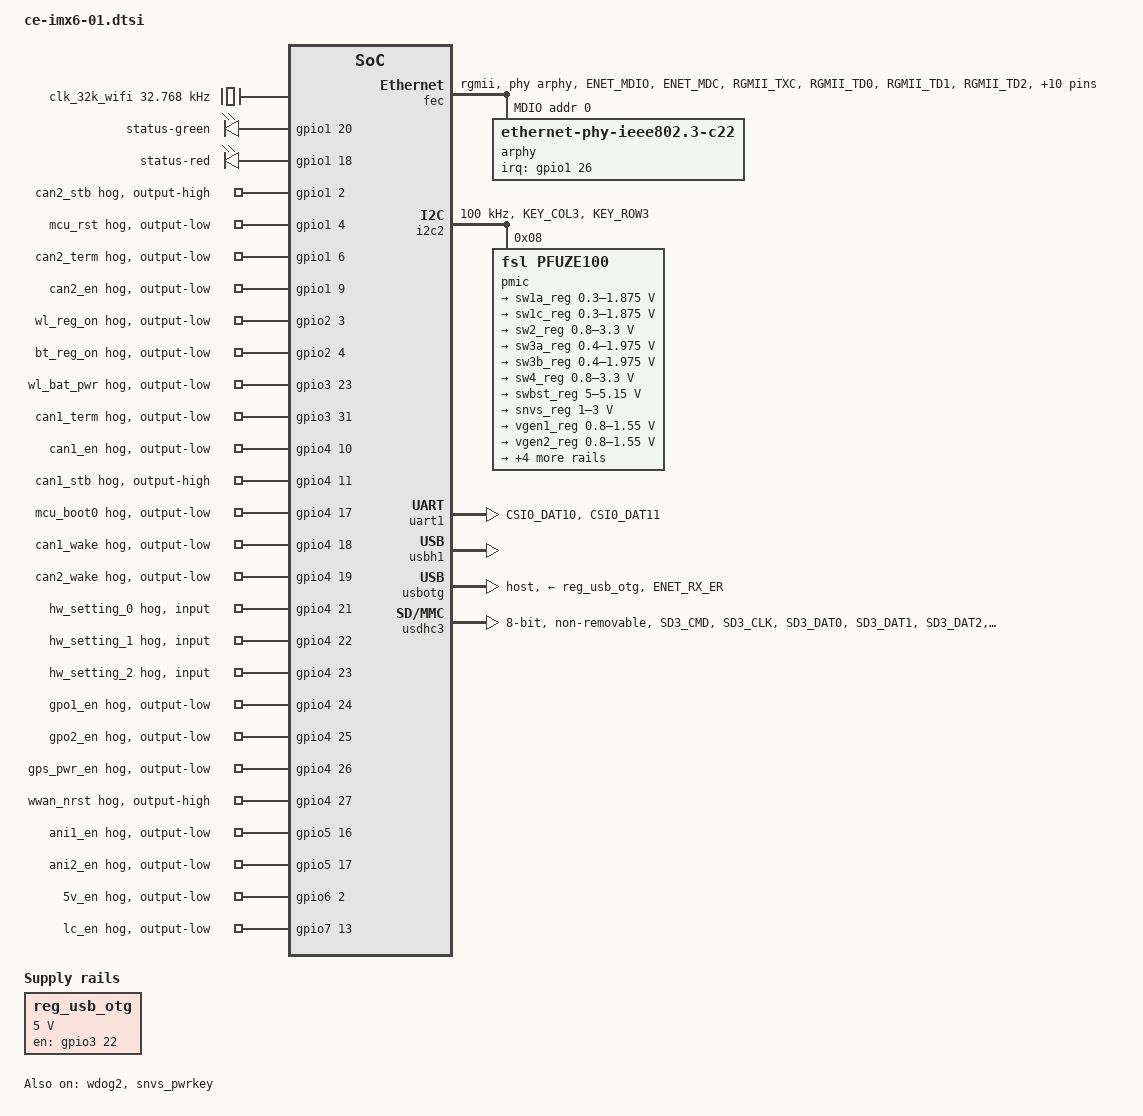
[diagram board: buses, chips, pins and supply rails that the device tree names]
/*
 * Copyright Akkodis Edge Sweden AB
 *
 * The code contained herein is licensed under the GNU General Public
 * License. You may obtain a copy of the GNU General Public License
 * Version 2 or later at the following locations:
 *
 * http://www.opensource.org/licenses/gpl-license.html
 * http://www.gnu.org/copyleft/gpl.html
 */

#include <dt-bindings/gpio/gpio.h>
#include <dt-bindings/interrupt-controller/irq.h>
#include <dt-bindings/input/input.h>

/ {
	aliases {
		mmc0 = &usdhc3;
	};

	chosen {
		stdout-path = &uart1;
	};

	reg_usb_otg: reg-usb-otg {
		compatible = "regulator-fixed";
		pinctrl-names = "default";
		pinctrl-0 = <&pinctrl_reg_usb_otg>;
		regulator-name = "reg_usb_otg";
		regulator-min-microvolt = <5000000>;
		regulator-max-microvolt = <5000000>;
		gpio = <&gpio3 22 GPIO_ACTIVE_HIGH>;
		enable-active-high;
		regulator-always-on;
	};

	clk_32k_wifi: clk-32k-wifi {
		compatible = "fixed-clock";
		#clock-cells = <0>;
		clock-frequency = <32768>;
	};

	leds {
    	compatible = "gpio-leds";
		pinctrl-names = "default";
		pinctrl-0 = <&pinctrl_leds>;
		status-green {
			label = "status-green";
			gpios = <&gpio1 20 GPIO_ACTIVE_HIGH>;
		};
		status-red {
			label = "status-red";
			gpios = <&gpio1 18 GPIO_ACTIVE_HIGH>;
		};
    };

	binman: binman {
		multiple-images;
		itb {
			filename = "u-boot.itb";
			align-size = <4096>;

			fit {
				description = "Configuration to load U-Boot";
				fit,fdt-list = "of-list";
				#address-cells = <1>;
				images {
					uboot {
						arch = "arm";
						compression = "none";
						description = "U-Boot";
						os = "u-boot";
						load = <CONFIG_TEXT_BASE>;
						entry = <CONFIG_TEXT_BASE>;
						type = "firmware";
						uboot-blob {
							filename = "u-boot-nodtb.bin";
							type = "blob-ext";
						};
					};
					@fdt-SEQ {
						compression = "none";
						description = "NAME";
						type = "flat_dt";
					};
				};
				configurations {
					@config-SEQ {
						description = "NAME";
						fdt = "fdt-SEQ";
						firmware = "uboot";
						loadables = "uboot";
					};
				};
			};
		};
	};

	signature {
		required-mode = "any";

		key-datarespons {
			required = "conf";
			algo = "sha256,rsa4096";
			rsa,r-squared = <
				0x130bf445 0xb210e2ce 0xf57fe687
				0x57394736 0x62871837 0x75f4fe88 0x387e555a
				0x189837f0 0x2707b143 0xa899a000 0x1e4dd8cb
				0xeaf34074 0xf3d5f3c7 0x99e4c2eb 0xfc860aa7
				0x0f6b1b9d 0x48d49b2c 0x0d184698 0x362e812d
				0x9e73accd 0xa9fdc59c 0x08440beb 0xbf09b938
				0xf474b95d 0xa1a4c13c 0xa2041e6a 0x10e88c1e
				0xad45643a 0xc750d0cb 0x314da2e8 0x31e6d1d7
				0xdc07a2fb 0xbc2c475b 0xe1132e66 0x33071c12
				0xa4165a31 0xd624e7ab 0xab7f8404 0x9a88dac8
				0x956eb55a 0x6ca588b8 0x1acb7c53 0x96e8855b
				0xca27e87a 0xbc69a58d 0x0f88e180 0xae55ca63
				0x7e51c80a 0x6d92828c 0x9d8be7d0 0xc7f7c0a8
				0x171661a7 0x4062c6fa 0x30a50bbb 0xecdd3679
				0x80b250c3 0x3a163d00 0x4c45cc74 0x0a30f4a8
				0x4f02359b 0x85510abb 0x0720bea9 0x88132051
				0xbe718e70 0x10b6c3e5 0x04122467 0x425e1146
				0x7e76f2e7 0x75babf2b 0x8285a2b3 0x6f5a1d19
				0x72f6a653 0xff45baf6 0xacb11eff 0x9a05984d
				0xb726a750 0x50ddd501 0xdd51e553 0x01b83294
				0xe1e78356 0x677c8c63 0x833a0f3f 0xcdb07721
				0x3d179c19 0x9a76f4c2 0x39576908 0x17249c8a
				0x57103fba 0x4f2df66b 0xa1c945fa 0x94de9f20
				0x1f21ef88 0xcc3fc6c5 0x54aef0a7 0x22eb6a05
				0x4c9d7861 0x8df3fe1f 0x990fa5c1 0x22b84516
				0xc48877dc 0x4896a835 0x281ded72 0x45b59054
				0x00eeb4a0 0xa254d782 0x5f7649ef 0x295869c5
				0x634885ce 0xc2632b4e 0xa7e19e23 0xb3d239fc
				0x6057347d 0xcfd79d37 0x256fd805 0x85f82100
				0x9e9d76f0 0x6a4b4632 0xeedbf6fa 0xe45034c0
				0x59be5d23 0x631e69b9 0xc7f2adfe 0x9653e15e
				0x3852bcf1 0xdc907f58 0x6919bc8a 0x040ebc8e
				0x5d65cbf6>;
			rsa,modulus = <
				0xdfc488bf 0x3ac051bf 0x3aafe113 0xa6b1bf8f
				0xb4c6966d 0x66c0e665 0xe8fe08d1 0x76c4cf6b
				0x26a81fe9 0xc378989c 0x4fed3b6d 0xbbd0ebc6
				0x5c0b2e8f 0x70882107 0x668a4836 0x493bdabe
				0x13b58dc7 0x7e1f5610 0x3984cbec 0xa8313e3e
				0x50a37315 0x2eb75947 0x6aa0f86d 0xf908e302
				0x1d91bfc8 0xc02f455f 0x8b92c857 0x0a208010
				0x5f71b5b1 0x1476f55a 0x240042f4 0x76cf228b
				0x4ad41f29 0x5ba68dae 0x6737bc9a 0x35f7fd2b
				0x7e707b5e 0x37709ede 0xdf6e45b5 0x27e26a30
				0xcb2760fc 0xfad6a62b 0x107c09cd 0x371b9c6c
				0x210eaf3b 0xb46cfef9 0xf2b872ac 0x7ad3e577
				0x1f3999c9 0xbfd73225 0xe7415f8e 0xc49e0e74
				0x3d900c78 0x441f9dd4 0x813cd6e6 0x5577c409
				0x83403f12 0x23d9838e 0x44452a85 0xf6875ffe
				0x6fcd5b51 0x12ee8c40 0x3bee7ddf 0x7215cc35
				0x4b5cf539 0x7ed625a0 0x1ed34911 0x2d60833e
				0x3600a7ec 0x1571403d 0x92ae0c2c 0x9ddf5499
				0xeb746735 0x25b305b2 0xa5e06d70 0xcca62cc3
				0x1fcd97dc 0xa7902768 0x65b1d01e 0x7a150ece
				0xbc157a9d 0x6c0b02f4 0x2bf5021f 0x9a95468b
				0xd784f910 0x8d42b117 0xa4747dc8 0x83299ca9
				0x4e8cc2a8 0xcb451fe7 0xbc338b77 0x69e7ee8e
				0x0727aadb 0x6c3cd733 0x0cf506a7 0x5df197bc
				0x7dd804a7 0x5a606e01 0x90bcf621 0xe44c9f84
				0xd14e7d6b 0xc7c75399 0x9a9a193f 0xe036bbdd
				0xb0e5523f 0xc7caf958 0x53b9f6de 0xb2767344
				0x24fc5889 0x4ca35d1f 0x1d81b124 0xa436d540
				0xdc72a390 0xabb95cf7 0x23d16da1 0xf600c84a
				0x4a389fc6 0xd797d4c8 0x93f93c43 0x876a27c4
				0x48380814 0x3dbc932b 0xd9c4a3e5 0x09084790
				0xac349fc4 0x93232312 0x2554f5b7 0x19ebd13b>;
			rsa,exponent = <0x00000000 0x00010001>;
			rsa,n0-inverse = <0x70ad200d>;
			rsa,num-bits = <0x00001000>;
			key-name-hint = "datarespons";
		};
	};
};

&gpio1 {
	pinctrl-names = "default";
	pinctrl-0 = <&pinctrl_gpio1_hog>;

	can2_stb {
		gpio-hog;
		output-high;
		gpios = <2 GPIO_ACTIVE_HIGH>;
	};

	mcu_rst {
		gpio-hog;
		output-low;
		gpios = <4 GPIO_ACTIVE_HIGH>;
	};

	can2_term {
		gpio-hog;
		output-low;
		gpios = <6 GPIO_ACTIVE_HIGH>;
	};

	can2_en {
		gpio-hog;
		output-low;
		gpios = <9 GPIO_ACTIVE_HIGH>;
	};
};

&gpio2 {
	pinctrl-names = "default";
	pinctrl-0 = <&pinctrl_gpio2_hog>;

	wl_reg_on {
		gpio-hog;
		output-low;
		gpios = <3 GPIO_ACTIVE_HIGH>;
	};

	bt_reg_on {
		gpio-hog;
		output-low;
		gpios = <4 GPIO_ACTIVE_HIGH>;
	};
};

&gpio3 {
	pinctrl-names = "default";
	pinctrl-0 = <&pinctrl_gpio3_hog>;

	wl_bat_pwr {
		gpio-hog;
		output-low;
		gpios = <23 GPIO_ACTIVE_HIGH>;
	};

	can1_term {
		gpio-hog;
		output-low;
		gpios = <31 GPIO_ACTIVE_HIGH>;
	};
};


&gpio4 {
	pinctrl-names = "default";
	pinctrl-0 = <&pinctrl_gpio4_hog>;

	can1_en {
		gpio-hog;
		output-low;
		gpios = <10 GPIO_ACTIVE_HIGH>;
	};

	can1_stb {
		gpio-hog;
		output-high;
		gpios = <11 GPIO_ACTIVE_HIGH>;
	};

	mcu_boot0 {
		gpio-hog;
		output-low;
		gpios = <17 GPIO_ACTIVE_HIGH>;
	};

	can1_wake {
		gpio-hog;
		output-low;
		gpios = <18 GPIO_ACTIVE_HIGH>;
	};

	can2_wake {
		gpio-hog;
		output-low;
		gpios = <19 GPIO_ACTIVE_HIGH>;
	};

	hw_setting_0 {
		gpio-hog;
		input;
		gpios = <21 GPIO_ACTIVE_HIGH>;
	};

	hw_setting_1 {
		gpio-hog;
		input;
		gpios = <22 GPIO_ACTIVE_HIGH>;
	};

	hw_setting_2 {
		gpio-hog;
		input;
		gpios = <23 GPIO_ACTIVE_HIGH>;
	};

	gpo1_en {
		gpio-hog;
		output-low;
		gpios = <24 GPIO_ACTIVE_HIGH>;
	};

	gpo2_en {
		gpio-hog;
		output-low;
		gpios = <25 GPIO_ACTIVE_HIGH>;
	};

	gps_pwr_en {
		gpio-hog;
		output-low;
		gpios = <26 GPIO_ACTIVE_HIGH>;
	};

	wwan_nrst {
		gpio-hog;
		output-high;
		gpios = <27 GPIO_ACTIVE_HIGH>;
	};

};

&gpio5 {
	pinctrl-names = "default";
	pinctrl-0 = <&pinctrl_gpio5_hog>;

	ani1_en {
		gpio-hog;
		output-low;
		gpios = <16 GPIO_ACTIVE_HIGH>;
	};

	ani2_en {
		gpio-hog;
		output-low;
		gpios = <17 GPIO_ACTIVE_HIGH>;
	};
};

&gpio6 {
	pinctrl-names = "default";
	pinctrl-0 = <&pinctrl_gpio6_hog>;

	5v_en {
		gpio-hog;
		output-low;
		gpios = <2 GPIO_ACTIVE_HIGH>;
	};
};

&gpio7 {
	pinctrl-names = "default";
	pinctrl-0 = <&pinctrl_gpio7_hog>;

	lc_en {
		gpio-hog;
		output-low;
		gpios = <13 GPIO_ACTIVE_HIGH>;
	};
};

&fec {
	pinctrl-names = "default";
	pinctrl-0 = <&pinctrl_enet>;
	phy-mode = "rgmii";
	status = "okay";
	phy-handle = <&arphy>;
	mdio {
		#address-cells = <1>;
		#size-cells = <0>;
		arphy: ethernet-phy@0 {
			compatible = "ethernet-phy-ieee802.3-c22";
			reg = <0x0>;
			max-speed = <100>;
			interrupt-parent = <&gpio1>;
			interrupts = <26 IRQ_TYPE_EDGE_FALLING>;
		};
	};
};

&wdog2 {
	pinctrl-names = "default";
	pinctrl-0 = <&pinctrl_wdog>;
	status = "okay";
};

&i2c2 {
	clock-frequency = <100000>;
	pinctrl-names = "default";
	pinctrl-0 = <&pinctrl_i2c2>;
	status = "okay";

	pmic: pfuze100@8 {
		compatible = "fsl,pfuze100";
		reg = <0x08>;

		regulators {
			sw1a_reg: sw1ab {
				regulator-min-microvolt = <300000>;
				regulator-max-microvolt = <1875000>;
				regulator-boot-on;
				regulator-always-on;
				regulator-ramp-delay = <6250>;
			};

			sw1c_reg: sw1c {
				regulator-min-microvolt = <300000>;
				regulator-max-microvolt = <1875000>;
				regulator-boot-on;
				regulator-always-on;
				regulator-ramp-delay = <6250>;
			};

			sw2_reg: sw2 {
				regulator-min-microvolt = <800000>;
				regulator-max-microvolt = <3300000>;
				regulator-boot-on;
				regulator-always-on;
			};

			sw3a_reg: sw3a {
				regulator-min-microvolt = <400000>;
				regulator-max-microvolt = <1975000>;
				regulator-boot-on;
				regulator-always-on;
			};

			sw3b_reg: sw3b {
				regulator-min-microvolt = <400000>;
				regulator-max-microvolt = <1975000>;
				regulator-boot-on;
				regulator-always-on;
			};

			sw4_reg: sw4 {
				regulator-min-microvolt = <800000>;
				regulator-max-microvolt = <3300000>;
				regulator-boot-on;
				regulator-always-on;
			};

			swbst_reg: swbst {
				regulator-min-microvolt = <5000000>;
				regulator-max-microvolt = <5150000>;
				regulator-boot-on;
				regulator-always-on;
			};

			snvs_reg: vsnvs {
				regulator-min-microvolt = <1000000>;
				regulator-max-microvolt = <3000000>;
				regulator-boot-on;
				regulator-always-on;
			};

			vref_reg: vrefddr {
				regulator-boot-on;
				regulator-always-on;
			};

			vgen1_reg: vgen1 {
				regulator-min-microvolt = <800000>;
				regulator-max-microvolt = <1550000>;
			};

			vgen2_reg: vgen2 {
				regulator-min-microvolt = <800000>;
				regulator-max-microvolt = <1550000>;
			};

			vgen3_reg: vgen3 {
				regulator-min-microvolt = <1800000>;
				regulator-max-microvolt = <3300000>;
			};

			vgen4_reg: vgen4 {
				regulator-min-microvolt = <1800000>;
				regulator-max-microvolt = <3300000>;
				regulator-always-on;
			};

			vgen5_reg: vgen5 {
				regulator-min-microvolt = <1800000>;
				regulator-max-microvolt = <3300000>;
				regulator-always-on;
			};

			vgen6_reg: vgen6 {
				regulator-min-microvolt = <1800000>;
				regulator-max-microvolt = <3300000>;
				regulator-boot-on;
				regulator-always-on;
			};
		};
	};
};

&uart1 {
	pinctrl-names = "default";
	pinctrl-0 = <&pinctrl_uart1>;
	status = "okay";
};

&reg_arm {
	vin-supply = <&sw1a_reg>;
};

&reg_pu {
	vin-supply = <&sw1c_reg>;
};

&reg_soc {
	vin-supply = <&sw1c_reg>;
};

&snvs_poweroff {
	status = "okay";
};

&snvs_pwrkey {
	status = "okay";
};

&usbh1 {
	status = "okay";
	disable-over-current;
};

&usbotg {
	pinctrl-names = "default";
	pinctrl-0 = <&pinctrl_usbotg>;
	status = "okay";
	vbus-supply = <&reg_usb_otg>;
	disable-over-current;
	dr_mode = "host";
};

&usdhc3 {
	pinctrl-names = "default";
	pinctrl-0 = <&pinctrl_usdhc3>;
	bus-width = <8>;
	non-removable;
	no-1-8-v;
	keep-power-in-suspend;
	status = "okay";
};

&iomuxc {
	pinctrl_uart1: uart1grp {
		fsl,pins = <
			MX6QDL_PAD_CSI0_DAT10__UART1_TX_DATA    0x1b0b1
			MX6QDL_PAD_CSI0_DAT11__UART1_RX_DATA    0x1b0b1
		>;
	};

	pinctrl_usbotg: usbotggrp {
		fsl,pins = <
			MX6QDL_PAD_ENET_RX_ER__USB_OTG_ID   0x17059
			/*MX6QDL_PAD_KEY_ROW1__GPIO4_IO09		0x17059*/			/* USB_OTG_OC */
		>;
	};

	pinctrl_usdhc3: usdhc3grp {
		fsl,pins = <
			MX6QDL_PAD_SD3_CMD__SD3_CMD     	0x17059
			MX6QDL_PAD_SD3_CLK__SD3_CLK     	0x10059
			MX6QDL_PAD_SD3_DAT0__SD3_DATA0      0x17059
			MX6QDL_PAD_SD3_DAT1__SD3_DATA1      0x17059
			MX6QDL_PAD_SD3_DAT2__SD3_DATA2      0x17059
			MX6QDL_PAD_SD3_DAT3__SD3_DATA3      0x17059
			MX6QDL_PAD_SD3_DAT4__SD3_DATA4      0x17059
			MX6QDL_PAD_SD3_DAT5__SD3_DATA5      0x17059
			MX6QDL_PAD_SD3_DAT6__SD3_DATA6      0x17059
			MX6QDL_PAD_SD3_DAT7__SD3_DATA7      0x17059
			MX6QDL_PAD_SD3_RST__SD3_RESET     	0x17059
		>;
	};

	pinctrl_i2c2: i2c2grp {
		fsl,pins = <
			MX6QDL_PAD_KEY_COL3__I2C2_SCL 0x4001b8b1
			MX6QDL_PAD_KEY_ROW3__I2C2_SDA 0x4001b8b1
		>;
	};

	pinctrl_enet: enetgrp-lb2 {
		fsl,pins = <
			MX6QDL_PAD_ENET_MDIO__ENET_MDIO       0x1b0b0
			MX6QDL_PAD_ENET_MDC__ENET_MDC         0x1b0b0
			MX6QDL_PAD_RGMII_TXC__RGMII_TXC       0x1b0b0
			MX6QDL_PAD_RGMII_TD0__RGMII_TD0       0x1b0b0
			MX6QDL_PAD_RGMII_TD1__RGMII_TD1       0x1b0b0
			MX6QDL_PAD_RGMII_TD2__RGMII_TD2       0x1b0b0
			MX6QDL_PAD_RGMII_TD3__RGMII_TD3       0x1b0b0
			MX6QDL_PAD_RGMII_TX_CTL__RGMII_TX_CTL 0x1b0b0
			MX6QDL_PAD_ENET_REF_CLK__ENET_TX_CLK  0x40000000
			MX6QDL_PAD_RGMII_RXC__RGMII_RXC       0x1b0b0
			MX6QDL_PAD_RGMII_RD0__RGMII_RD0       0x1b0b0
			MX6QDL_PAD_RGMII_RD1__RGMII_RD1       0x1b0b0
			MX6QDL_PAD_RGMII_RD2__RGMII_RD2       0x1b0b0
			MX6QDL_PAD_RGMII_RD3__RGMII_RD3       0x1b0b0
			MX6QDL_PAD_RGMII_RX_CTL__RGMII_RX_CTL 0x1b0b0
			MX6QDL_PAD_ENET_RXD1__GPIO1_IO26      0x1a020 /* Phy IRQ */
		>;
	};

	pinctrl_reg_wwan: regwwangrp {
		fsl,pins = <
			MX6QDL_PAD_CSI0_DAT17__GPIO6_IO03	0x1b0b1			/* GP-PCIE_PWR_nEN (active low) */
		>;
	};

	pinctrl_gpio1_hog: gpio1hoggrp {
		fsl,pins = <
			MX6QDL_PAD_GPIO_2__GPIO1_IO02 0x20 /* CAN2_STB */
			MX6QDL_PAD_GPIO_4__GPIO1_IO04 0x20 /* MCU_RESET (active high) */
			MX6QDL_PAD_GPIO_6__GPIO1_IO06 0x20 /* CAN2_RES */
			MX6QDL_PAD_GPIO_9__GPIO1_IO09 0x20 /* CAN2_EN */
		>;
	};

	pinctrl_gpio2_hog: gpio2hoggrp {
		fsl,pins = <
			MX6QDL_PAD_NANDF_D3__GPIO2_IO03 0x20 /* WL_REG_ON */
			MX6QDL_PAD_NANDF_D4__GPIO2_IO04 0x20 /* BT_REG_ON */
		>;
	};

	pinctrl_gpio3_hog: gpio3hoggrp {
		fsl,pins = <
			MX6QDL_PAD_EIM_D23__GPIO3_IO23 0x20 /* GP--WL_BAT_PWR_EN */
			MX6QDL_PAD_EIM_D31__GPIO3_IO31 0x20 /* GP_CAN1_RES_EN */
		>;
	};

	pinctrl_gpio4_hog: gpio4hoggrp {
		fsl,pins = <
			MX6QDL_PAD_KEY_COL2__GPIO4_IO10   0x20 /* CAN1_EN */
			MX6QDL_PAD_KEY_ROW2__GPIO4_IO11   0x20 /* CAN1_STB */
			MX6QDL_PAD_DI0_PIN15__GPIO4_IO17  0x20 /* MCU Boot select */
			MX6QDL_PAD_DI0_PIN2__GPIO4_IO18   0x20 /* CAN1_WAKE */
			MX6QDL_PAD_DI0_PIN3__GPIO4_IO19	  0x20 /* CAN2_WAKE */
			MX6QDL_PAD_DISP0_DAT0__GPIO4_IO21 0x10020 /* HW Setting 0 */
			MX6QDL_PAD_DISP0_DAT1__GPIO4_IO22 0x10020 /* HW Setting 1 */
			MX6QDL_PAD_DISP0_DAT2__GPIO4_IO23 0x10020 /* HW Setting 2 */
			MX6QDL_PAD_DISP0_DAT3__GPIO4_IO24 0x20 /* GP_EN--GPO1 */
			MX6QDL_PAD_DISP0_DAT4__GPIO4_IO25 0x20 /* GP_EN--GPO2 */
			MX6QDL_PAD_DISP0_DAT5__GPIO4_IO26 0x20 /* GP_EN_PWR--ANT_GPS */
			MX6QDL_PAD_DISP0_DAT6__GPIO4_IO27 0x20 /* GP_nPRST_WWAN */
		>;
	};

	pinctrl_gpio5_hog: gpio5hoggrp {
		fsl,pins = <
			MX6QDL_PAD_DISP0_DAT22__GPIO5_IO16 0x20 /* EN_ANI1 */
			MX6QDL_PAD_DISP0_DAT23__GPIO5_IO17 0x20 /* EN_ANI2 */
		>;
	};

	pinctrl_gpio6_hog: gpio6hoggrp {
		fsl,pins = <
			MX6QDL_PAD_CSI0_DAT16__GPIO6_IO02 0x20 /* GP-EN--BUCK_5V--CPU (active high) */
		>;
	};

	pinctrl_gpio7_hog: gpio7hoggrp {
		fsl,pins = <
			MX6QDL_PAD_GPIO_18__GPIO7_IO13 0x20 /* GP-EN--ISO_UART */
		>;
	};

	pinctrl_leds: ledsgrp {
		fsl,pins = <
			MX6QDL_PAD_SD1_CMD__GPIO1_IO18		0x2070			/* GP_LED_R_STATUS */
			MX6QDL_PAD_SD1_CLK__GPIO1_IO20		0x2070			/* GP_LED_G_STATUS */
		>;
	};

	pinctrl_reg_usb_otg: regusbotggrp {
		fsl,pins = <
			MX6QDL_PAD_EIM_D22__GPIO3_IO22	0x2070 			/* USB_OTG_PWR_EN */
		>;
	};

	pinctrl_wdog: wdoggrp {
		fsl,pins = <
			MX6QDL_PAD_GPIO_1__WDOG2_B		0x1b0b0
		>;
	};
};
